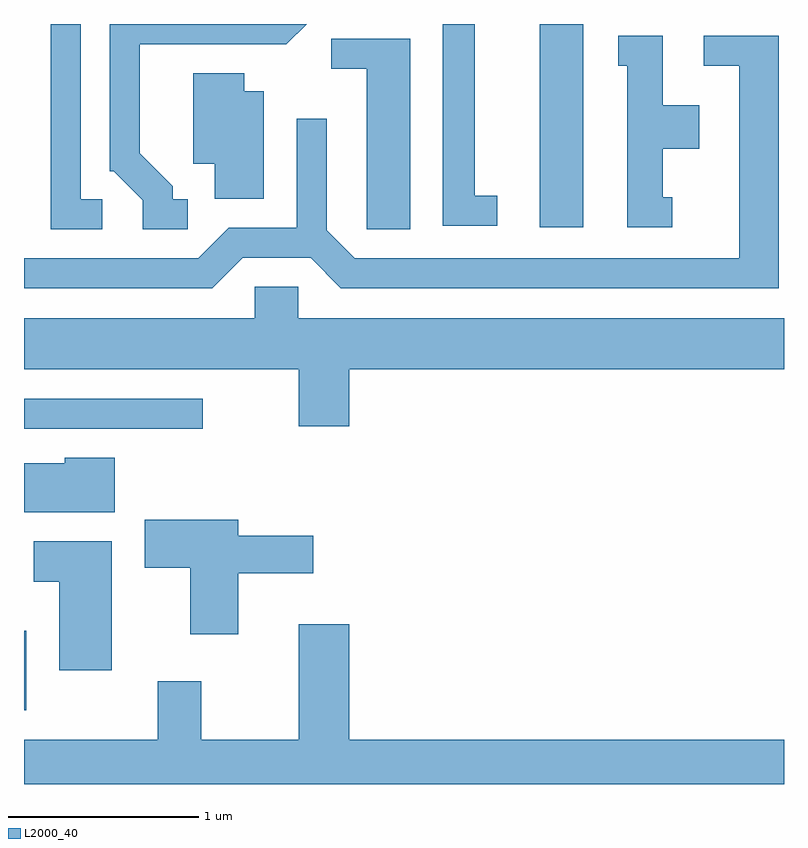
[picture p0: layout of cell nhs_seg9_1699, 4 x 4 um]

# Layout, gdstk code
import gdstk
lib = gdstk.Library(unit=1e-6, precision=1e-09)
def R(c, l, rs):  # rectangles x0, y0, x1, y1
    for r in rs: c.add(gdstk.rectangle(r[:2], r[2:], *l))
def P(c, l, *ps):  # polygons
    for p in ps: c.add(gdstk.Polygon(p, *l))
L2000_40 = (2000, 40)

nhs_seg9_1699 = lib.new_cell('nhs_seg9_1699')
R(nhs_seg9_1699, L2000_40, [(233.611,2078.821,233.624,2079.239), (233.611,2080.301,234.553,2080.459), (236.326,2081.361,236.554,2082.432)])
P(nhs_seg9_1699, L2000_40, [(234.023,2081.509),(233.909,2081.509),(233.909,2082.432),(233.751,2082.432),(233.751,2081.351),(234.023,2081.351)],
  [(236.103,2081.529),(235.984,2081.529),(235.984,2082.432),(235.816,2082.432),(235.816,2081.371),(236.103,2081.371)],
  [(234.473,2081.509),(234.394,2081.509),(234.394,2081.577),(234.219,2081.751),(234.219,2082.326),(234.992,2082.326),(235.098,2082.432),(234.061,2082.432),(234.061,2081.656),(234.084,2081.656),(234.236,2081.504),(234.236,2081.351),(234.473,2081.351)],
  [(234.762,2081.201),(235.119,2081.201),(235.279,2081.041),(237.584,2081.041),(237.584,2082.369),(237.188,2082.369),(237.188,2082.211),(237.376,2082.211),(237.376,2081.199),(235.352,2081.199),(235.204,2081.347),(235.204,2081.933),(235.046,2081.933),(235.046,2081.359),(234.689,2081.359),(234.529,2081.199),(233.611,2081.199),(233.611,2081.041),(234.602,2081.041)],
  [(237.023,2081.519),(236.974,2081.519),(236.974,2081.776),(237.164,2081.776),(237.164,2082.004),(236.974,2082.004),(236.974,2082.369),(236.738,2082.369),(236.738,2082.211),(236.786,2082.211),(236.786,2081.361),(237.023,2081.361)],
  [(235.644,2082.354),(235.228,2082.354),(235.228,2082.196),(235.416,2082.196),(235.416,2081.351),(235.644,2081.351)],
  [(234.874,2082.079),(234.769,2082.079),(234.769,2082.174),(234.501,2082.174),(234.501,2081.696),(234.616,2081.696),(234.616,2081.511),(234.874,2081.511)],
  [(235.324,2080.616),(237.611,2080.616),(237.611,2080.884),(235.054,2080.884),(235.054,2081.049),(234.826,2081.049),(234.826,2080.884),(233.611,2080.884),(233.611,2080.616),(235.056,2080.616),(235.056,2080.316),(235.324,2080.316)],
  [(234.089,2080.149),(233.826,2080.149),(233.826,2080.119),(233.611,2080.119),(233.611,2079.861),(234.089,2079.861)],
  [(234.739,2079.541),(235.134,2079.541),(235.134,2079.739),(234.739,2079.739),(234.739,2079.824),(234.246,2079.824),(234.246,2079.571),(234.486,2079.571),(234.486,2079.221),(234.739,2079.221)],
  [(234.074,2079.709),(233.661,2079.709),(233.661,2079.496),(233.796,2079.496),(233.796,2079.031),(234.074,2079.031)],
  [(237.611,2078.664),(235.324,2078.664),(235.324,2079.274),(235.056,2079.274),(235.056,2078.664),(234.544,2078.664),(234.544,2078.974),(234.316,2078.974),(234.316,2078.664),(233.611,2078.664),(233.611,2078.432),(237.611,2078.432)])

lib.write_gds('nhs_seg9_1699.gds')
